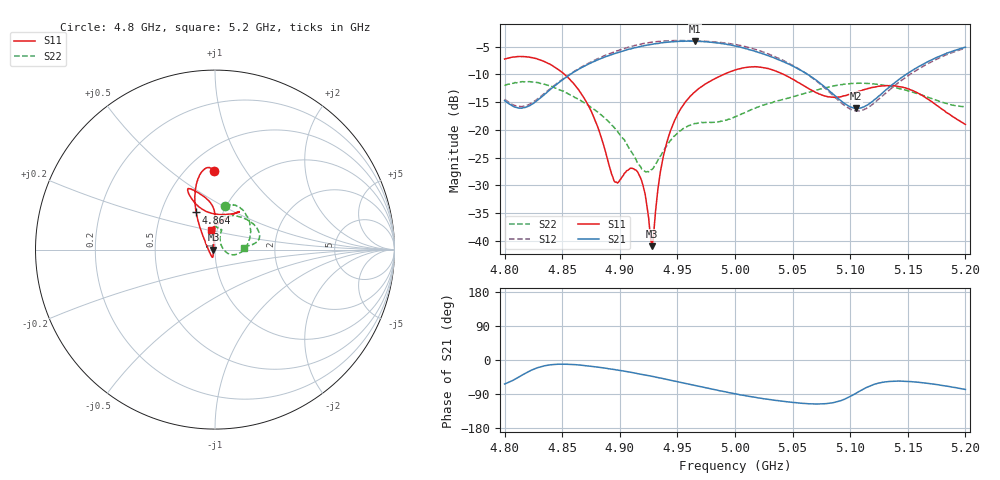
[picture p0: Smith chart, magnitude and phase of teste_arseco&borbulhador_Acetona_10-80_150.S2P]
! Network Analyzer HP8722D
! Hewlett-Packard
! Data name: Linha & Wilkinson
! Saver's name: Rodrigo Anjos
! Comments: Teste da utilização de aquisição
! continua pelo VNA HP8722D
! Time and date: 25/4/2025 16:31
!  Frequency  S11  S21  S12  S22
# HZ  S  MA R 50
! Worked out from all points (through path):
!   401 points, 4.8 GHz to 5.2 GHz, reference 50 ohm
!   highest |S21| = -3.98 dB at 4.965 GHz (marker M1); lowest = -16.1 dB at 5.105 GHz (marker M2)
!   lowest |S11| = -40.9 dB at 4.928 GHz (marker M3), VSWR 1.02, Z = 49.1 + j0.0398 ohm
!   |S11| at or under -10 dB: 4.852 GHz to 4.99 GHz (138.1 MHz wide, 2.81 % of centre); 5.042 GHz to end of sweep
!   |S22| runs from -27.6 to -11.3 dB; largest |S21 - S12| = 1.2
!   S11 on the Smith chart (normalised r, x): 4.8 GHz: 0.68, +0.73; 4.864 GHz: 0.75, +0.33; 5.2 GHz: 0.94, +0.21
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4.8e9  0.4354 90.7  0.184 -63.3  0.189 70.3  0.2507 76.7
4.82e9  0.4531 97.0  0.1625 -31.7  0.1679 99.1  0.2716 61.4
4.845e9  0.3599 107.4  0.2565 -11.4  0.2605 119.4  0.237 33.9
4.864e9  0.2319 116.8  0.3508 -13.0  0.3546 121.0  0.1891 11.5
4.867e9  0.2087 118.6  0.3656 -14.0  0.3691 120.5  0.1818 8.3
4.88e9  0.1117 129.2  0.4245 -18.4  0.4347 118.1  0.147 -5.5
4.896e9  0.03388 -165.9  0.4885 -25.5  0.5081 113.1  0.1027 -16.1
4.91e9  0.04526 -109.0  0.539 -32.8  0.5643 106.8  0.06398 -12.9
4.917e9  0.03882 -106.2  0.5625 -36.7  0.5883 103.3  0.04815 -0.1
4.921e9  0.02923 -110.9  0.5742 -39.0  0.601 101.1  0.04293 13.3
4.928e9  0.008984 177.4  0.5908 -43.1  0.6176 96.7  0.04407 42.0
4.934e9  0.03454 101.9  0.6028 -47.0  0.6277 93.0  0.05548 58.4
4.939e9  0.06524 94.2  0.615 -50.0  0.6357 89.7  0.06778 65.6
4.946e9  0.1111 90.4  0.6227 -54.7  0.6384 85.6  0.08521 69.8
4.965e9  0.2197 91.2  0.6322 -67.2  0.6353 73.2  0.1143 71.2
5e9  0.347 109.0  0.5706 -89.2  0.5895 50.6  0.1313 88.2
5.03e9  0.3538 115.2  0.4611 -104.5  0.4783 33.7  0.1739 85.1
5.067e9  0.2261 105.3  0.2979 -115.8  0.2953 23.6  0.2228 56.7
5.105e9  0.2186 65.5  0.1564 -87.9  0.1486 55.2  0.2629 25.2
5.134e9  0.2508 57.4  0.2432 -56.6  0.2288 88.8  0.2472 12.2
5.17e9  0.1824 71.1  0.4243 -62.7  0.4086 84.1  0.1931 6.7
5.2e9  0.1122 101.1  0.556 -77.8  0.5464 69.9  0.1617 3.6
